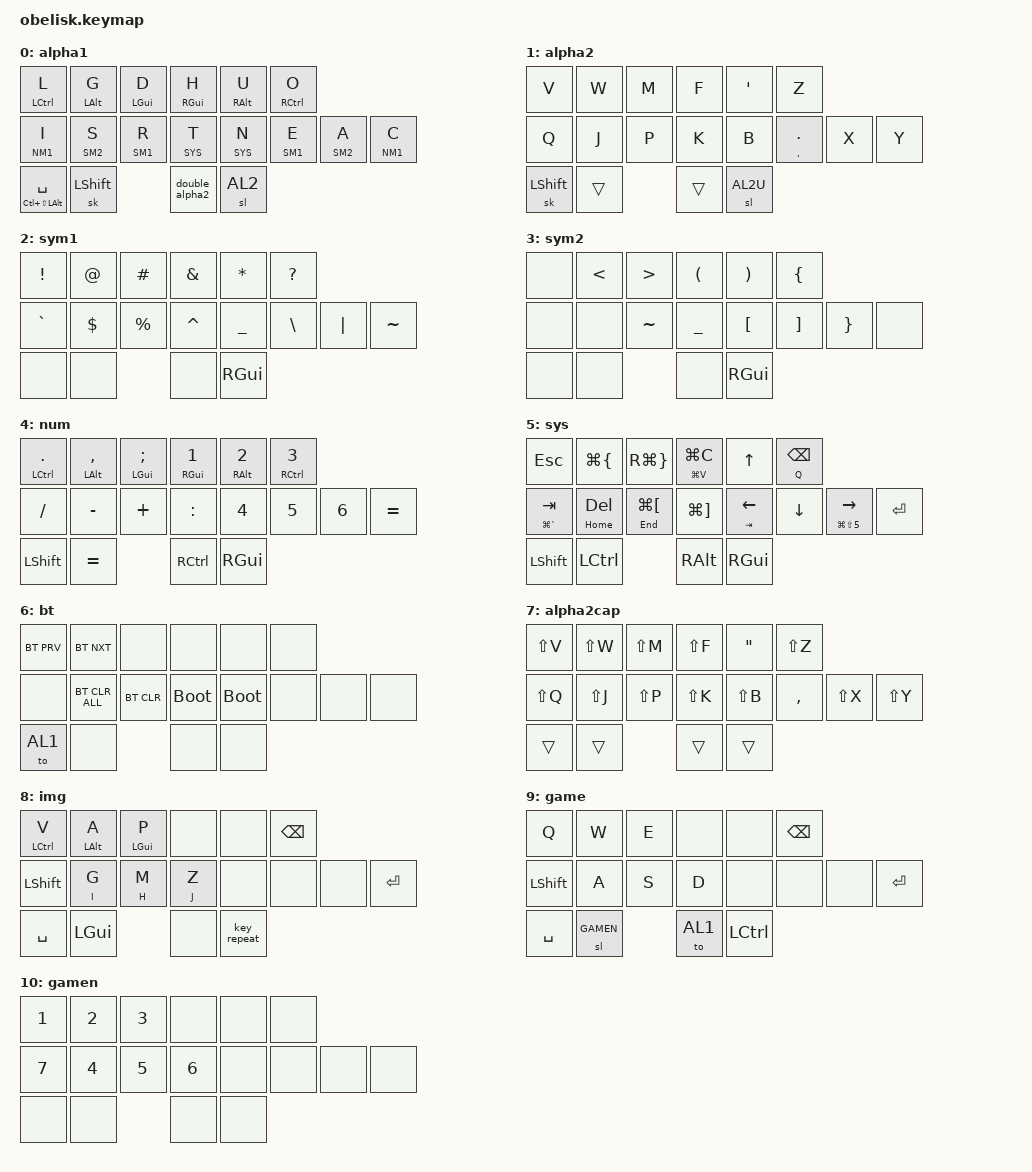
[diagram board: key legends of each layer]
/*
 * Copyright (c) 2020 The ZMK Contributors
 *
 * SPDX-License-Identifier: MIT
 */

#include <behaviors.dtsi>
#include <dt-bindings/zmk/keys.h>
#include <dt-bindings/zmk/bt.h>
#include <dt-bindings/zmk/mouse.h>



&mt {
	tapping-term-ms = <250>;
	flavor = "tap-preferred";
};
&sk {
	release-after-ms = <2000>;
	quick-release;
};

/* Layers */
#define AL1 0
#define AL2 1
#define SM1 2
#define SM2 3	
#define NM1 4	
#define SYS 5
#define BT 6	
#define AL2U 7
#define IMG 8
#define GAME 9
#define GAMEN 10
/ { 
	combos {
		compatible = "zmk,combos";
		combo_sys {
			timeout-ms = <30>;
			key-positions = <3 4 5>;
			bindings = <&tog SYS>;
		};
		/* combo_img { */
		/* 	timeout-ms = <30>; */
		/* 	key-positions = <0 1 2>; */
		/* 	bindings = <&tog IMG>; */
		/* }; */
		combo_caps {
			timeout-ms = <30>;
			key-positions = <10 11 12>;
			bindings = <&caps_word>;
		};
		combo_game  {
			timeout-ms = <10>;
			key-positions = <7 9>;
			bindings = <&to GAME>;
			layers = <SM1>; 
		};
		combo_bt  {
			timeout-ms = <10>;
			key-positions = <10 12>;
			bindings = <&to BT>;
			layers = <SM1>; 
		};
		lalt {
			timeout-ms = <20>;
			key-positions = <8 9>;
			bindings = <&kp LALT>; 
			layers = <SYS>; 
		};
		lclk {
			timeout-ms = <20>;
			key-positions = <10 11>;
			bindings = <&mkp LCLK>;
			layers = <SYS>;
		};
		rclk {
			timeout-ms = <20>;
			key-positions = <3 4>;
			bindings = <&mkp RCLK>;
			layers = <SYS>;
		};
		bksp {
			timeout-ms = <50>;
			key-positions = <3 4>; // h+u uncommon bigram
			bindings = <&kp BSPC>;
			layers = <AL1 AL2 AL2U>;
		};
		ret {
			timeout-ms = <50>;
			key-positions = <3 5>; // h+o uncommon bigram
			bindings = <&kp RET>;
			layers = <AL1 AL2 AL2U>;
		};
		tab {
			timeout-ms = <50>;
			key-positions = <7 8>;
			bindings = <&kp TAB>;
			layers = <AL1 AL2 AL2U>;
		};
		esc {
			timeout-ms = <50>;
			key-positions = <0 1>;
			bindings = <&kp ESC>;
			layers = <AL1 AL2 AL2U>;
		};
		number_8 {
			timeout-ms = <200>;
			key-positions = <4 5>;
			bindings = <&kp N8>;
			layers = <NM1>;
		};
		number_0 {
			timeout-ms = <200>;
			key-positions = <11 12>;
			bindings = <&kp N0>;
			layers = <NM1 IMG>;
		};
		number_7 {
			timeout-ms = <200>;
			key-positions = <3 4>;
			bindings = <&kp N7>;
			layers = <NM1>;
		};
		number_9 {
			timeout-ms = <200>;
			key-positions = <10 11>;
			bindings = <&kp N9>;
			layers = <NM1>;
		};
	};

	behaviors {
		hm_l: homerow_mods_left {
			compatible = "zmk,behavior-hold-tap";
			#binding-cells = <2>;
			tapping-term-ms = <300>;
			quick-tap-ms = <250>;
			flavor = "tap-preferred";
			bindings = <&kp>, <&kp>;
			hold-trigger-key-positions = <3 4 5 10 11 12 13 14>; // right hand
		};
		hm_r: homerow_mods_right {
			compatible = "zmk,behavior-hold-tap";
			#binding-cells = <2>;
			tapping-term-ms = <300>;
			quick-tap-ms = <250>;
			flavor = "tap-preferred";
			bindings = <&kp>, <&kp>;
			hold-trigger-key-positions = <0 1 2 6 7 8 9>; // left hand
		};
		sr: shift_layer {
			compatible = "zmk,behavior-hold-tap";
			#binding-cells = <2>;
			tapping-term-ms = <300>;
			quick_tap_ms = <0>;
			flavor = "tap-preferred";
			bindings = <&kp>, <&to>;
			retro-tap;
		};
		hl_l: homerow_layers_left {
			compatible = "zmk,behavior-hold-tap";
			#binding-cells = <2>;
			tapping-term-ms = <220>;
			quick-tap-ms = <250>;
			flavor = "tap-preferred";
			bindings = <&mo>, <&kp>;
			hold-trigger-key-positions = <3 4 5 10 11 12 13 14>; // right hand
		};
		hl_r: homerow_layers_right {
			compatible = "zmk,behavior-hold-tap";
			#binding-cells = <2>;
			tapping-term-ms = <220>;
			quick-tap-ms = <250>;
			flavor = "tap-preferred";
			bindings = <&mo>, <&kp>;
			hold-trigger-key-positions = <0 1 2 6 7 8 9>; // left hand
		};
		td: tapdance {
			compatible = "zmk,behavior-hold-tap";
			#binding-cells = <2>;
			tapping-term-ms = <190>;
			quick-tap-ms = <250>;
			flavor = "tap-preferred";
			bindings = <&kp>, <&kp>;
		};
                double_alpha2: behavior_macro_1 {
                        compatible = "zmk,behavior-macro";
                        #binding-cells = <0>;
                        bindings = < &sl AL2 &sl AL2 >;
                };
	};

	//			00	01	02			03	04	05
	//		06	07	08	09			10	11	12	13
	//					14	15	16	17

	keymap {
		compatible = "zmk,keymap";

		alpha1 {
			bindings = <
				&hm_l LCTRL L	&hm_l LALT G	&hm_l LGUI D		&hm_r RGUI H	&hm_r RALT U	&hm_r RCTRL O	  
				&hl_l NM1 I		&hl_l SM2 S		&hl_l SM1 R		&hl_l SYS T			&hl_r SYS N		&hl_r SM1 E		&hl_r SM2 A		&hl_r NM1 C
				&mt LC(LS(LALT)) SPACE			&sk LSHIFT 			&double_alpha2	    &sl AL2
			>;
		};

		alpha2 {
			bindings = <
				&kp V	&kp W	&kp M		  &kp F	&kp SQT	       	&kp Z
				&kp Q	&kp J	&kp P	&kp K		&kp B	&td COMMA DOT	&kp X	&kp Y 
				&sk LSHIFT	&trans		&trans	&sl AL2U	
			>;
		};

		sym1 {
			bindings = <
				&kp EXCL	&kp AT	&kp HASH		&kp AMPS		&kp STAR		&kp QMARK
				&kp GRAVE	&kp DLLR	&kp PRCNT	&kp CARET		&kp UNDER		&kp BSLH		&kp PIPE &kp TILDE
				&none	&none							&none	&kp RGUI
			>;
		};

		sym2 {
			bindings = <
				&none	&kp LT	&kp GT					&kp LPAR	&kp RPAR	&kp LBRC
				&none	&none	&kp TILDE	&kp UNDER			&kp LBKT	&kp RBKT	&kp RBRC	&none 
				&none	&none							&none	&kp RGUI
			>;
		};

		num {
			bindings = <
				&hm_l LCTRL DOT	&hm_l LALT COMMA	&hm_l LGUI SEMI		&hm_r RGUI N1	&hm_r RALT N2	&hm_r RCTRL N3
				&kp SLASH	&kp MINUS		&kp PLUS			&kp COLON			&kp N4			&kp N5			&kp N6		&kp EQUAL
				&kp LSHIFT	&kp EQUAL									&kp RCTRL	&kp RGUI
			>;
		};

		sys {
			bindings = <
				&kp ESC			&kp LG(LBRC)		&kp RG(RBRC)		&td LG(V) LG(C)		&kp UP		&td Q BSPC
				&td LG(GRAVE) TAB	&td HOME DEL	&td END LG(LBKT)	&kp LG(RBKT)		&td TAB LEFT		&kp DOWN	&td  LG(LS(N5)) RIGHT	&kp RET
				&kp LSHIFT		&kp LCTRL								&kp RALT	&kp RGUI
			>;
		};

		bt {
			bindings = <
				&bt BT_PRV	&bt BT_NXT	&none	        &none	    &none	&none
				&none	&bt BT_CLR_ALL	&bt BT_CLR	    &bootloader			&bootloader	&none	&none	&none
				&to AL1		&none				        &none	&none
			>;
		};

		alpha2cap {
			bindings = <
				&kp LS(V)	&kp LS(W)	&kp LS(M)		&kp LS(F)	&kp DQT		&kp LS(Z)
				&kp LS(Q)	&kp LS(J)	&kp LS(P)	&kp LS(K)		&kp LS(B)	&kp COMMA	&kp LS(X)	&kp LS(Y) 
				&trans	&trans							&trans	&trans
			>;
		};

		img {
			bindings = <
				&hm_l LCTRL V	&hm_l LALT A	&hm_l LGUI P		&none	&none	&kp BSPC
				&kp LSHIFT  &td I G		&td H M		&td J Z						&none	&none	&none	&kp RET
				&kp SPACE		&kp LGUI								&none	&key_repeat
			>;
		};

		game {
			bindings = <
				&kp Q	&kp W	&kp E		&none	&none	&kp BSPC
				&kp LSHIFT  &kp A &kp S				&kp D						&none	&none	&none	&kp RET
				&kp SPACE		&sl GAMEN								&to AL1	&kp LCTRL
			>;
		};

		gamen {
			bindings = <
				&kp N1	&kp N2	&kp N3		&none	&none	&none
				&kp N7  &kp N4 &kp N5				&kp N6						&none	&none	&none	&none
				&none		&none								&none	&none
			>;
		};
	};
};
